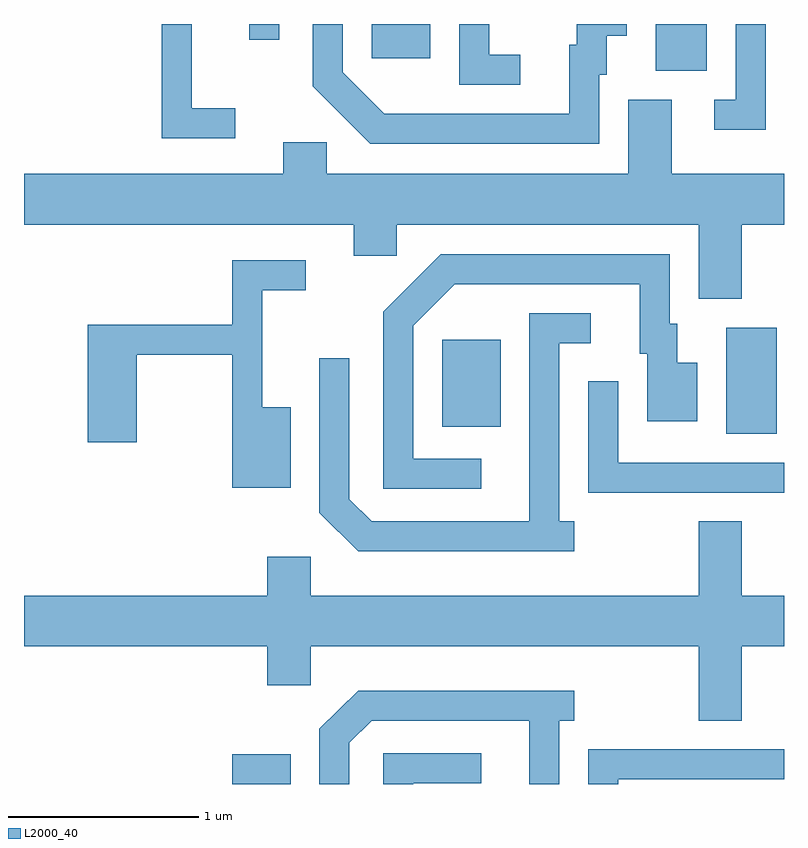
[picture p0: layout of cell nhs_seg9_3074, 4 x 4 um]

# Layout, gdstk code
import gdstk
lib = gdstk.Library(unit=1e-6, precision=1e-09)
def R(c, l, rs):  # rectangles x0, y0, x1, y1
    for r in rs: c.add(gdstk.rectangle(r[:2], r[2:], *l))
def P(c, l, *ps):  # polygons
    for p in ps: c.add(gdstk.Polygon(p, *l))
L2000_40 = (2000, 40)

nhs_seg9_3074 = lib.new_cell('nhs_seg9_3074')
R(nhs_seg9_3074, L2000_40, [(276.706,1984.432,277.014,1984.589), (279.306,1986.276,279.574,1986.834), (277.811,1986.311,278.119,1986.769), (278.936,1988.186,279.204,1988.432), (277.441,1988.251,277.749,1988.432), (276.796,1988.348,276.954,1988.432)])
P(nhs_seg9_3074, L2000_40, [(276.723,1987.989),(276.494,1987.989),(276.494,1988.432),(276.336,1988.432),(276.336,1987.831),(276.723,1987.831)],
  [(279.514,1988.432),(279.356,1988.432),(279.356,1988.034),(279.243,1988.034),(279.243,1987.876),(279.514,1987.876)],
  [(278.223,1988.269),(278.059,1988.269),(278.059,1988.432),(277.901,1988.432),(277.901,1988.111),(278.223,1988.111)],
  [(278.639,1988.166),(278.679,1988.166),(278.679,1988.371),(278.784,1988.371),(278.784,1988.432),(278.521,1988.432),(278.521,1988.324),(278.481,1988.324),(278.481,1987.959),(277.507,1987.959),(277.289,1988.177),(277.289,1988.432),(277.131,1988.432),(277.131,1988.104),(277.434,1987.801),(278.639,1987.801)],
  [(279.389,1987.376),(279.611,1987.376),(279.611,1987.644),(279.019,1987.644),(279.019,1988.034),(278.791,1988.034),(278.791,1987.644),(277.204,1987.644),(277.204,1987.809),(276.976,1987.809),(276.976,1987.644),(275.611,1987.644),(275.611,1987.376),(277.346,1987.376),(277.346,1987.211),(277.574,1987.211),(277.574,1987.376),(279.161,1987.376),(279.161,1986.986),(279.389,1986.986)],
  [(278.018,1986.144),(277.659,1986.144),(277.659,1986.844),(277.877,1987.061),(278.851,1987.061),(278.851,1986.696),(278.891,1986.696),(278.891,1986.341),(279.154,1986.341),(279.154,1986.649),(279.049,1986.649),(279.049,1986.854),(279.009,1986.854),(279.009,1987.219),(277.804,1987.219),(277.501,1986.917),(277.501,1985.986),(278.018,1985.986)],
  [(277.014,1986.414),(276.864,1986.414),(276.864,1987.031),(277.093,1987.031),(277.093,1987.189),(276.706,1987.189),(276.706,1986.849),(275.946,1986.849),(275.946,1986.231),(276.204,1986.231),(276.204,1986.691),(276.706,1986.691),(276.706,1985.991),(277.014,1985.991)],
  [(278.508,1985.814),(278.429,1985.814),(278.429,1986.751),(278.593,1986.751),(278.593,1986.909),(278.271,1986.909),(278.271,1985.814),(277.442,1985.814),(277.324,1985.932),(277.324,1986.673),(277.166,1986.673),(277.166,1985.859),(277.369,1985.656),(278.508,1985.656)],
  [(279.611,1986.124),(278.739,1986.124),(278.739,1986.553),(278.581,1986.553),(278.581,1985.966),(279.611,1985.966)],
  [(279.389,1985.156),(279.611,1985.156),(279.611,1985.424),(279.389,1985.424),(279.389,1985.814),(279.161,1985.814),(279.161,1985.424),(277.119,1985.424),(277.119,1985.629),(276.891,1985.629),(276.891,1985.424),(275.611,1985.424),(275.611,1985.156),(276.891,1985.156),(276.891,1984.951),(277.119,1984.951),(277.119,1985.156),(279.161,1985.156),(279.161,1984.766),(279.389,1984.766)],
  [(277.324,1984.649),(277.442,1984.766),(278.271,1984.766),(278.271,1984.432),(278.429,1984.432),(278.429,1984.766),(278.508,1984.766),(278.508,1984.924),(277.369,1984.924),(277.166,1984.722),(277.166,1984.432),(277.324,1984.432)],
  [(278.739,1984.456),(279.611,1984.456),(279.611,1984.614),(278.581,1984.614),(278.581,1984.432),(278.739,1984.432)],
  [(277.659,1984.436),(278.018,1984.436),(278.018,1984.594),(277.501,1984.594),(277.501,1984.432),(277.659,1984.432)])

lib.write_gds('nhs_seg9_3074.gds')
